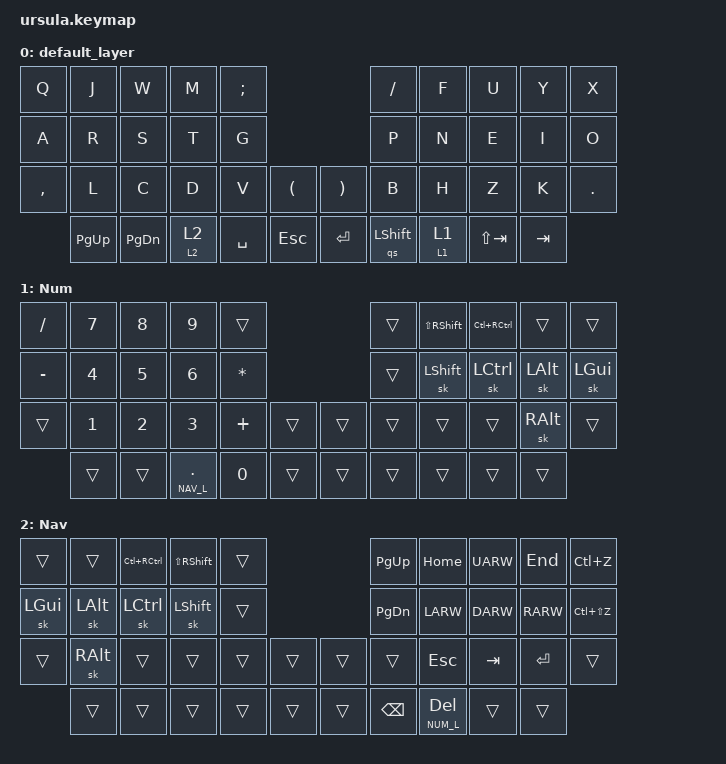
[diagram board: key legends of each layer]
/*
 * Copyright (c) 2020 The ZMK Contributors
 * SPDX-License-Identifier: MIT
 *
 * This is a Colemak 28 keymap for the Ursula keyboard.
 * Last edited by James White, November 1, 2021.
 */

#include <behaviors.dtsi>
#include <dt-bindings/zmk/keys.h>
#include <dt-bindings/zmk/bt.h>

&kscan0 {
    debounce-period = <10>;
};

#define DEF_L 0
#define NUM_L 1
#define NAV_L 2

&sl {
    release-after-ms = <1000>;
};
&sk {
    release-after-ms = <1000>;
};

/ {
    behaviors {
        nl: not_so_sticky_layer {
            compatible = "zmk,behavior-hold-tap";
            label = "not so sticky layer";
            #binding-cells = <2>;
            tapping_term_ms = <200>;
            flavor = "tap-preferred";
            bindings = <&mo>, <&sl>;
        };
        qs: quick_sticky {
            compatible = "zmk,behavior-sticky-key";
            label = "quick sticky";
            #binding-cells = <1>;
            release-after-ms = <1000>;
            bindings = <&kp>;
            quick-release;
        };
        f111: f_one_eleven {
            compatible = "zmk,behavior-mod-morph";
            label = "F1 F11";
            #binding-cells = <0>;
            bindings = <&kp F1>, <&kp F11>;
            mods = <(MOD_RALT)>;
        };
        f212: f_two_twelve {
            compatible = "zmk,behavior-mod-morph";
            label = "F2 F12";
            #binding-cells = <0>;
            bindings = <&kp F2>, <&kp F12>;
            mods = <(MOD_RALT)>;
        };
        f313: f_three_thirteen {
            compatible = "zmk,behavior-mod-morph";
            label = "F3 F13";
            #binding-cells = <0>;
            bindings = <&kp F3>, <&kp F13>;
            mods = <(MOD_RALT)>;
        };
        f414: f_four_fourteen {
            compatible = "zmk,behavior-mod-morph";
            label = "F4 F14";
            #binding-cells = <0>;
            bindings = <&kp F4>, <&kp F14>;
            mods = <(MOD_RALT)>;
        };
        f515: f_five_fifteen {
            compatible = "zmk,behavior-mod-morph";
            label = "F5 F15";
            #binding-cells = <0>;
            bindings = <&kp F5>, <&kp F15>;
            mods = <(MOD_RALT)>;
        };
        f616: f_six_sixteen {
            compatible = "zmk,behavior-mod-morph";
            label = "F6 F16";
            #binding-cells = <0>;
            bindings = <&kp F6>, <&kp F16>;
            mods = <(MOD_RALT)>;
        };
        f717: f_seven_seventeen {
            compatible = "zmk,behavior-mod-morph";
            label = "F7 F17";
            #binding-cells = <0>;
            bindings = <&kp F7>, <&kp F17>;
            mods = <(MOD_RALT)>;
        };
        f818: f_eight_eighteen {
            compatible = "zmk,behavior-mod-morph";
            label = "F8 F18";
            #binding-cells = <0>;
            bindings = <&kp F8>, <&kp F18>;
            mods = <(MOD_RALT)>;
        };
        f919: f_nine_nineteen {
            compatible = "zmk,behavior-mod-morph";
            label = "F9 F19";
            #binding-cells = <0>;
            bindings = <&kp F9>, <&kp F19>;
            mods = <(MOD_RALT)>;
        };
        f1020: f_ten_twenty {
            compatible = "zmk,behavior-mod-morph";
            label = "F10 F20";
            #binding-cells = <0>;
            bindings = <&kp F10>, <&kp F20>;
            mods = <(MOD_RALT)>;
        };
    };
    combos {
        compatible = "zmk,combos";
        combo_grave {
            timeout-ms = <25>;
            key-positions = <0 1>;
            bindings = <&kp GRAVE>;
        };
        combo_left_brace {
            timeout-ms = <25>;
            key-positions = <1 2>;
            bindings = <&kp LBRC>;
        };
        combo_right_brace {
            timeout-ms = <25>;
            key-positions = <2 3>;
            bindings = <&kp RBRC>;
        };
        combo_underscore {
            timeout-ms = <25>;
            key-positions = <3 4>;
            bindings = <&kp UNDER>;
        };
        combo_left_parenthesis {
            timeout-ms = <25>;
            key-positions = <11 12>;
            bindings = <&kp LPAR>;
        };
        combo_right_parenthesis {
            timeout-ms = <25>;
            key-positions = <12 13>;
            bindings = <&kp RPAR>;
        };
        combo_minus {
            timeout-ms = <25>;
            key-positions = <13 14>;
            bindings = <&kp MINUS>;
        };
        combo_left_bracket {
            timeout-ms = <25>;
            key-positions = <21 22>;
            bindings = <&kp LBKT>;
        };
        combo_right_bracket {
            timeout-ms = <25>;
            key-positions = <22 23>;
            bindings = <&kp RBKT>;
        };
        combo_plus {
            timeout-ms = <25>;
            key-positions = <5 6>;
            bindings = <&kp PLUS>;
        };
        combo_semicolon {
            timeout-ms = <25>;
            key-positions = <6 7>;
            bindings = <&kp SEMI>;
        };
        combo_colon {
            timeout-ms = <25>;
            key-positions = <7 8>;
            bindings = <&kp COLON>;
        };
        combo_backslash {
            timeout-ms = <25>;
            key-positions = <8 9>;
            bindings = <&kp BSLH>;
        };
        combo_equal {
            timeout-ms = <25>;
            key-positions = <15 16>;
            bindings = <&kp EQUAL>;
        };
        combo_comma {
            timeout-ms = <25>;
            key-positions = <16 17>;
            bindings = <&kp COMMA>;
        };
        combo_dot {
            timeout-ms = <25>;
            key-positions = <17 18>;
            bindings = <&kp DOT>;
        };
        combo_apostrophe {
            timeout-ms = <25>;
            key-positions = <28 29>;
            bindings = <&kp APOS>;
        };
        combo_forward_slash {
            timeout-ms = <25>;
            key-positions = <29 30>;
            bindings = <&kp SLASH>;
        };
        combo_f_one {
            timeout-ms = <25>;
            key-positions = <0 10>;
            layers = <1>;
            bindings = <&f111>;
        };
        combo_f_two {
            timeout-ms = <25>;
            key-positions = <1 11>;
            layers = <1>;
            bindings = <&f212>;
        };
        combo_f_three {
            timeout-ms = <25>;
            key-positions = <2 12>;
            layers = <1>;
            bindings = <&f313>;
        };
        combo_f_four {
            timeout-ms = <25>;
            key-positions = <3 13>;
            layers = <1>;
            bindings = <&f414>;
        };
        combo_f_five {
            timeout-ms = <25>;
            key-positions = <4 14>;
            layers = <1>;
            bindings = <&f515>;
        };
        combo_f_six {
            timeout-ms = <25>;
            key-positions = <5 15>;
            layers = <2>;
            bindings = <&f616>;
        };
        combo_f_seven {
            timeout-ms = <25>;
            key-positions = <6 16>;
            layers = <2>;
            bindings = <&f717>;
        };
        combo_f_eight {
            timeout-ms = <25>;
            key-positions = <7 17>;
            layers = <2>;
            bindings = <&f818>;
        };
        combo_f_nine {
            timeout-ms = <25>;
            key-positions = <8 18>;
            layers = <2>;
            bindings = <&f919>;
        };
        combo_f_ten {
            timeout-ms = <25>;
            key-positions = <9 19>;
            layers = <2>;
            bindings = <&f1020>;
        };
        combo_mute {
            timeout-ms = <25>;
            key-positions = <11 21>;
            layers = <1>;
            bindings = <&kp C_MUTE>;
        };
        combo_vol_down {
            timeout-ms = <25>;
            key-positions = <12 22>;
            layers = <1>;
            bindings = <&kp C_VOLUME_DOWN>;
        };
        combo_vol_up {
            timeout-ms = <25>;
            key-positions = <13 23>;
            layers = <1>;
            bindings = <&kp C_VOLUME_UP>;
        };
        combo_media_play_pause {
            timeout-ms = <25>;
            key-positions = <16 28>;
            layers = <2>;
            bindings = <&kp C_PLAY_PAUSE>;
        };
        combo_media_prev {
            timeout-ms = <25>;
            key-positions = <17 29>;
            layers = <2>;
            bindings = <&kp C_PREV>;
        };
        combo_media_next {
            timeout-ms = <25>;
            key-positions = <18 30>;
            layers = <2>;
            bindings = <&kp C_NEXT>;
        };
        combo_ctl_sft_tab {
            timeout-ms = <25>;
            key-positions = <1 2 3>;
            bindings = <&kp LC(LS(TAB))>;
        };
        combo_alt_sft_tab {
            timeout-ms = <25>;
            key-positions = <11 12 13>;
            bindings = <&kp LA(LS(TAB))>;
        };
        combo_gui_sft_tab {
            timeout-ms = <25>;
            key-positions = <21 22 23>;
            bindings = <&kp LG(LS(TAB))>;
        };
        combo_ctl_tab {
            timeout-ms = <25>;
            key-positions = <6 7 8>;
            bindings = <&kp LC(TAB)>;
        };
        combo_alt_tab {
            timeout-ms = <25>;
            key-positions = <16 17 18>;
            bindings = <&kp LA(TAB)>;
        };
        combo_gui_tab {
            timeout-ms = <25>;
            key-positions = <28 29 30>;
            bindings = <&kp LG(TAB)>;
        };
        combo_printscreen {
            timeout-ms = <25>;
            key-positions = <35 38>;
            bindings = <&kp PSCRN>;
        };
    };
};

/ {
    keymap {
        compatible = "zmk,keymap";

        default_layer {
            bindings = <
                &kp Q     &kp J     &kp W     &kp M     &kp SEMI                      &kp FSLH  &kp F     &kp U     &kp Y     &kp X
                &kp A     &kp R     &kp S     &kp T     &kp G                         &kp P     &kp N     &kp E     &kp I     &kp O
                &kp COMMA &kp L     &kp C     &kp D     &kp V     &kp LPAR  &kp RPAR  &kp B     &kp H     &kp Z     &kp K     &kp DOT
                          &kp PG_UP &kp PG_DN &nl 2 2   &kp SPACE &kp ESC   &kp RET   &qs LSHFT &nl 1 1   &kp LS(TAB) &kp TAB
            >;
        };

        num_layer {
            label = "Num";
            bindings = <
                &kp SLASH &kp N7    &kp N8    &kp N9    &trans                        &trans    &kp LS(RSHFT) &kp LC(RCTRL) &trans &trans
                &kp MINUS &kp N4    &kp N5    &kp N6    &kp ASTRK                     &trans    &sk LSHFT &sk LCTRL &sk LALT &sk LGUI
                &trans    &kp N1    &kp N2    &kp N3    &kp PLUS  &trans    &trans    &trans    &trans    &trans    &sk RALT &trans
                          &trans    &trans    &lt NAV_L DOT &kp N0 &trans   &trans    &trans    &trans    &trans    &trans
            >;
        };

        nav_layer {
            label = "Nav";
            bindings = <
                &trans    &trans    &kp LC(RCTRL) &kp LS(RSHFT) &trans                &kp PG_UP &kp HOME  &kp UARW  &kp END  &kp LC(Z)
                &sk LGUI  &sk LALT  &sk LCTRL &sk LSHFT &trans                        &kp PG_DN &kp LARW  &kp DARW  &kp RARW &kp LC(LS(Z))
                &trans    &sk RALT  &trans    &trans    &trans    &trans    &trans    &trans    &kp ESC   &kp TAB   &kp RET  &trans
                          &trans    &trans    &trans    &trans    &trans    &trans    &kp BSPC  &lt NUM_L DEL &trans &trans
            >;
        };

    };
};
